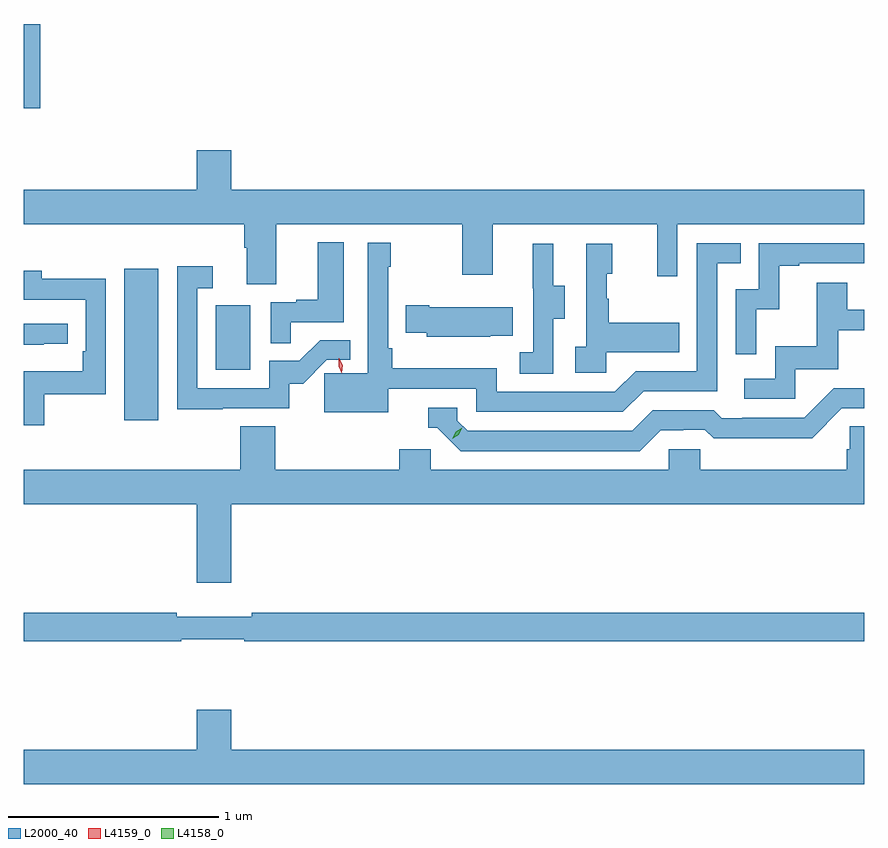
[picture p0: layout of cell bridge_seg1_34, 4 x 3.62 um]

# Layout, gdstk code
import gdstk
lib = gdstk.Library(unit=1e-6, precision=1e-09)
def R(c, l, rs):  # rectangles x0, y0, x1, y1
    for r in rs: c.add(gdstk.rectangle(r[:2], r[2:], *l))
def P(c, l, *ps):  # polygons
    for p in ps: c.add(gdstk.Polygon(p, *l))
L2000_40 = (2000, 40)
L4158_0 = (4158, 0)
L4159_0 = (4159, 0)

bridge_seg1_34 = lib.new_cell('bridge_seg1_34')
R(bridge_seg1_34, L2000_40, [(1063.763,568.116,1063.924,568.837), (1064.198,568.356,1064.362,568.663), (1063.284,569.601,1063.361,570.002)])
P(bridge_seg1_34, L2000_40, [(1064.485,569.048),(1065.37,569.048),(1065.37,568.809),(1065.517,568.809),(1065.517,569.048),(1066.298,569.048),(1066.298,568.8),(1066.395,568.8),(1066.395,569.048),(1067.284,569.048),(1067.284,569.212),(1064.272,569.212),(1064.272,569.401),(1064.108,569.401),(1064.108,569.212),(1063.284,569.212),(1063.284,569.048),(1064.333,569.048),(1064.333,568.936),(1064.345,568.936),(1064.345,568.762),(1064.485,568.762)],
  [(1064.555,568.581),(1064.806,568.581),(1064.806,568.963),(1064.684,568.963),(1064.684,568.69),(1064.581,568.69),(1064.581,568.677),(1064.46,568.677),(1064.46,568.483),(1064.555,568.483)],
  [(1065.019,568.266),(1065.438,568.266),(1065.438,568.155),(1066.135,568.155),(1066.234,568.254),(1066.584,568.254),(1066.584,568.863),(1066.697,568.863),(1066.697,568.959),(1066.488,568.959),(1066.488,568.35),(1066.197,568.35),(1066.098,568.251),(1065.534,568.251),(1065.534,568.363),(1065.038,568.363),(1065.038,568.459),(1065.018,568.459),(1065.018,568.847),(1065.031,568.847),(1065.031,568.96),(1064.922,568.96),(1064.922,568.339),(1064.714,568.339),(1064.714,568.154),(1065.019,568.154)],
  [(1066.77,568.643),(1066.88,568.643),(1066.88,568.851),(1066.975,568.851),(1066.975,568.863),(1067.284,568.863),(1067.284,568.959),(1066.782,568.959),(1066.782,568.74),(1066.674,568.74),(1066.674,568.431),(1066.77,568.431)],
  [(1066.056,568.439),(1066.403,568.439),(1066.403,568.579),(1066.069,568.579),(1066.069,568.694),(1066.059,568.694),(1066.059,568.812),(1066.084,568.812),(1066.084,568.957),(1065.96,568.957),(1065.96,568.466),(1065.909,568.466),(1065.909,568.341),(1066.056,568.341)],
  [(1065.804,568.6),(1065.859,568.6),(1065.859,568.755),(1065.805,568.755),(1065.805,568.957),(1065.707,568.957),(1065.707,568.743),(1065.708,568.743),(1065.708,568.439),(1065.645,568.439),(1065.645,568.336),(1065.804,568.336)],
  [(1064.231,568.173),(1064.548,568.173),(1064.548,568.29),(1064.613,568.29),(1064.727,568.404),(1064.837,568.404),(1064.837,568.496),(1064.694,568.496),(1064.596,568.398),(1064.451,568.398),(1064.451,568.269),(1064.109,568.269),(1064.109,568.743),(1064.182,568.743),(1064.182,568.849),(1064.013,568.849),(1064.013,568.168),(1064.231,568.168)],
  [(1063.381,568.239),(1063.674,568.239),(1063.674,568.79),(1063.369,568.79),(1063.369,568.828),(1063.284,568.828),(1063.284,568.689),(1063.578,568.689),(1063.578,568.444),(1063.565,568.444),(1063.565,568.348),(1063.284,568.348),(1063.284,568.092),(1063.381,568.092)],
  [(1066.956,568.359),(1067.161,568.359),(1067.161,568.545),(1067.284,568.545),(1067.284,568.641),(1067.203,568.641),(1067.203,568.771),(1067.059,568.771),(1067.059,568.468),(1066.86,568.468),(1066.86,568.314),(1066.713,568.314),(1066.713,568.218),(1066.956,568.218)],
  [(1065.503,568.517),(1065.611,568.517),(1065.611,568.654),(1065.214,568.654),(1065.214,568.662),(1065.103,568.662),(1065.103,568.532),(1065.201,568.532),(1065.201,568.514),(1065.503,568.514)],
  [(1063.379,568.479),(1063.492,568.479),(1063.492,568.575),(1063.284,568.575),(1063.284,568.474),(1063.379,568.474)],
  [(1066.315,568.068),(1066.422,568.068),(1066.422,568.071),(1066.525,568.071),(1066.567,568.029),(1066.8,568.029),(1066.8,568.031),(1067.036,568.031),(1067.178,568.173),(1067.284,568.173),(1067.284,568.269),(1067.139,568.269),(1066.998,568.128),(1066.705,568.128),(1066.705,568.125),(1066.606,568.125),(1066.567,568.164),(1066.278,568.164),(1066.179,568.065),(1065.396,568.065),(1065.348,568.113),(1065.348,568.176),(1065.209,568.176),(1065.209,568.08),(1065.252,568.08),(1065.363,567.969),(1066.216,567.969)],
  [(1064.272,567.716),(1067.284,567.716),(1067.284,568.088),(1067.215,568.088),(1067.215,567.978),(1067.201,567.978),(1067.201,567.88),(1066.503,567.88),(1066.503,567.978),(1066.353,567.978),(1066.353,567.88),(1065.222,567.88),(1065.222,567.978),(1065.071,567.978),(1065.071,567.88),(1064.48,567.88),(1064.48,568.088),(1064.315,568.088),(1064.315,567.88),(1063.284,567.88),(1063.284,567.716),(1064.108,567.716),(1064.108,567.342),(1064.272,567.342)],
  [(1064.032,567.072),(1064.332,567.072),(1064.332,567.064),(1067.284,567.064),(1067.284,567.2),(1064.368,567.2),(1064.368,567.181),(1064.012,567.181),(1064.012,567.2),(1063.284,567.2),(1063.284,567.064),(1064.032,567.064)],
  [(1067.284,566.548),(1064.272,566.548),(1064.272,566.737),(1064.108,566.737),(1064.108,566.548),(1063.284,566.548),(1063.284,566.384),(1067.284,566.384)])
P(bridge_seg1_34, L4158_0, [(1065.324,568.028),(1065.324,568.028),(1065.341,568.06),(1065.372,568.079),(1065.372,568.079),(1065.372,568.079),(1065.355,568.046),(1065.324,568.028)])
P(bridge_seg1_34, L4159_0, [(1064.798,568.339),(1064.798,568.339),(1064.782,568.373),(1064.784,568.411),(1064.784,568.411),(1064.785,568.411),(1064.801,568.377),(1064.798,568.339)])

lib.write_gds('bridge_seg1_34.gds')
